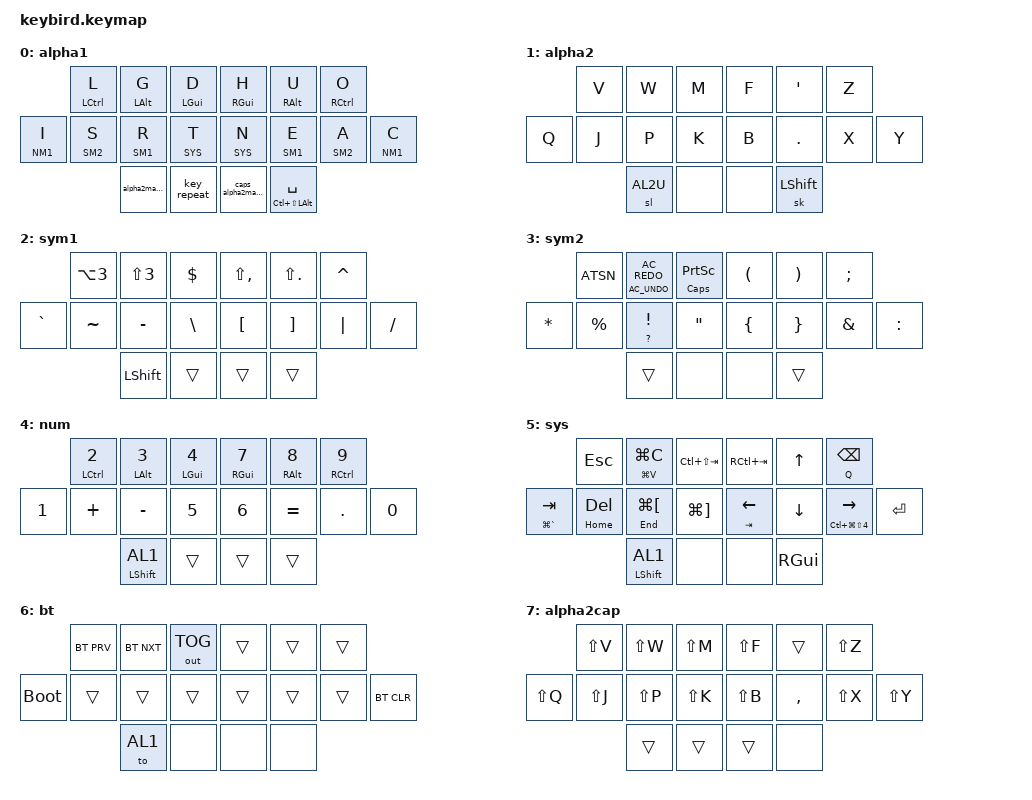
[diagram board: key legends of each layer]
/*
 * Copyright (c) 2020 The ZMK Contributors
 *
 * SPDX-License-Identifier: MIT
 */

#include <behaviors.dtsi>
#include <dt-bindings/zmk/keys.h>
#include <dt-bindings/zmk/bt.h>
#include <dt-bindings/zmk/mouse.h>
#include <dt-bindings/zmk/outputs.h>
#include <dt-bindings/zmk/pointing.h>



&mt {
    tapping-term-ms = <201>;
    flavor = "tap-preferred";
 };
&sk {
     release-after-ms = <2000>;
     quick-release;
 };
 
/* Layers */
#define AL1 0
#define AL2 1
#define SM1 2
#define SM2 3	
#define NM1 4	
#define SYS 5
#define BT 6	
#define AL2U 7
/ { 
    combos {
        compatible = "zmk,combos";
        combo_sys {
            timeout-ms = <30>;
	    key-positions = <3 4 5>;
            bindings = <&to SYS>;
        };
        combo_caps {
            timeout-ms = <30>;
	    key-positions = <10 11 12>;
            bindings = <&caps_word>;
        };
        combo_bt  {
            timeout-ms = <10>;
            key-positions = <11 12>;
            bindings = <&to BT>;
	    layers = <SM1>; 
        };
		combo_bspc {
			timeout-ms = <30>;
			key-positions = <2 3>;
            bindings = <&kp BSPC>;
		};
        lalt {
            timeout-ms = <20>;
	    key-positions = <8 9>;
            bindings = <&kp LALT>; 
	    layers = <SYS>; 
        };
        lclk {
            timeout-ms = <20>;
	    key-positions = <10 11>;
            bindings = <&mkp LCLK>;
	    layers = <SYS>;
        };
        rclk {
            timeout-ms = <20>;
	    key-positions = <3 4>;
            bindings = <&mkp RCLK>;
	    layers = <SYS>;
        };


    };

    behaviors {
        hm_l: homerow_mods_left {
            compatible = "zmk,behavior-hold-tap";
            label = "HOMEROW_MODS_L";
            #binding-cells = <2>;
            tapping-term-ms = <300>;
            quick-tap-ms = <250>;
            flavor = "tap-preferred";
            bindings = <&kp>, <&kp>;
        };
        hm_r: homerow_mods_right {
            compatible = "zmk,behavior-hold-tap";
            label = "HOMEROW_MODS_R";
            #binding-cells = <2>;
            tapping-term-ms = <300>;
            quick-tap-ms = <250>;
            flavor = "tap-preferred";
            bindings = <&kp>, <&kp>;
        };
        sr: shift_layer {
            compatible = "zmk,behavior-hold-tap";
            label = "SHIFT_LAYER";
            #binding-cells = <2>;
            tapping-term-ms = <300>;
            quick_tap_ms = <0>;
            flavor = "tap-preferred";
            bindings = <&kp>, <&to>;
	    retro-tap;
        };
        hl_l: homerow_layers_left {
            compatible = "zmk,behavior-hold-tap";
            label = "HOMEROW_LAYERS_L";
            #binding-cells = <2>;
            tapping-term-ms = <220>;
            quick-tap-ms = <250>;
            flavor = "tap-preferred";
            bindings = <&mo>, <&kp>;
        };
        hl_r: homerow_layers_right {
            compatible = "zmk,behavior-hold-tap";
            label = "HOMEROW_LAYERS_R";
            #binding-cells = <2>;
            tapping-term-ms = <220>;
            quick-tap-ms = <250>;
            flavor = "tap-preferred";
            bindings = <&mo>, <&kp>;
        };
	td: tapdance {
            compatible = "zmk,behavior-hold-tap";
            label = "TAPDANCE";
            #binding-cells = <2>;
            tapping-term-ms = <190>;
            quick-tap-ms = <250>;
            flavor = "tap-preferred";
            bindings = <&kp>, <&kp>;
        };
	alpha2macro: behavior_macro_1 {
		compatible = "zmk,behavior-macro";
		label = "MACRO1";
		#binding-cells = <0>;
		bindings = < &sl AL2 >;
	};
	caps_alpha2macro: behavior_macro_2 {
		compatible = "zmk,behavior-macro";
		label = "MACRO2";
		#binding-cells = <0>;
		bindings = < &sl AL2U >;
	};
    };
// 				0		1		2					3		4			5
// 		6		7		8		9 					10		11			12 		13
//								14	15 	16 	17		
       keymap {
                compatible = "zmk,keymap";
                
       		alpha1 {
		bindings = <
                    &hm_l LCTL L 	&hm_l LALT G 	&hm_l LGUI D		&hm_r RGUI H 	&hm_r RALT U    	&hm_r RCTL O	  
        &hl_l NM1 I	&hl_l SM2 S	    &hl_l SM1 R		&hl_l SYS T 	 	&hl_r SYS N    	&hl_r SM1 E   		&hl_r SM2 A 	&hl_r NM1 C
                  				  &alpha2macro   &key_repeat 			&caps_alpha2macro	 &mt LC(LS(LALT)) SPC	 	
		>;
		};
       		alpha2 {
		bindings = <
              &kp V 		&kp W		&kp M	 	 	&kp F    	&kp SQT			&kp Z 		
			&kp Q	 	&kp J 		&kp P		&kp K 			&kp B 		&kp DOT			&kp X		&kp Y 
			 	 		 			&sl AL2U		&none 		&none 	&sk LSHIFT 		
		>;
		};
		
       		sym1 {
		bindings = <
              &kp LA(N3)   &kp LS(N3)	&kp DLLR	    	&kp LS(COMMA)	&kp LS(DOT)		&kp CARET	
		&kp GRAVE	&kp TILDE 	&kp MINUS      	&kp BSLH	 	&kp LBKT		&kp RBKT	 	&kp PIPE 	&kp SLASH
				  				&kp LSHIFT 		&trans			&trans  	&trans
		>;
		};
		sym2 {
		bindings = <
            &kp ATSN	&td C_AC_UNDO C_AC_REDO	&td  CAPS  PSCRN		&kp LPRN	&kp RPRN 	&kp SEMI 	
		&kp STAR  	&kp PRCNT	&td QMARK EXCL       		&kp DQT   							&kp LBRC  	&kp RBRC	&kp AMPS	&kp COLON 
			 							&trans 	&none 											&none &trans 		

		>;
		};

		num {
		bindings = <
					&hm_l LCTL N2 	&hm_l LALT N3	&hm_l LGUI N4 		&hm_r RGUI N7 	&hm_r RALT N8		&hm_r RCTL N9	
			&kp N1	&kp PLUS 		&kp MINUS		&kp N5				&kp N6			&kp EQUAL				&kp DOT   		&kp N0
									&sr LSHIFT AL1 		&trans 			&trans 			&trans  	 
		>;
		};

		sys {
		bindings = <
				 		&kp ESC				&td LG(V) LG(C)    &kp LC(LS(TAB)) 	   &kp RC(TAB)		    &kp UP 				&td Q BKSP 			
	&td LG(GRAVE) TAB	&td HOME DEL		&td END LG(LBKT) 	&kp LG(RBKT)		&td TAB LEFT  		&kp DOWN 	&td  LC(LG(LS(N4))) RIGHT 	&kp RET 
		 			 		 				&sr LSHIFT AL1 		&none 				&none 				&kp RGUI		
		>;
		};

		bt {
		bindings = <
						&bt BT_PRV	&bt BT_NXT	&out OUT_TOG 			&trans 	&trans	&trans	
		&bootloader  	&trans 		&trans 		&trans 					&trans 	&trans 	&trans	&bt BT_CLR
		 	 	 				&to AL1	&none 							&none	&none
		>;
		};

       		alpha2cap {
		bindings = <
		 	 		&kp LS(V)	&kp LS(W)	&kp LS(M) 	 	&kp LS(F)    	&trans		&kp LS(Z)	
		&kp LS(Q) 	&kp LS(J) 	&kp LS(P)	&kp LS(K)		&kp LS(B)	&kp COMMA	&kp LS(X)	&kp LS(Y) 
			 					&trans 		&trans 			&trans	&none
		>;
		};
        
	};
};

